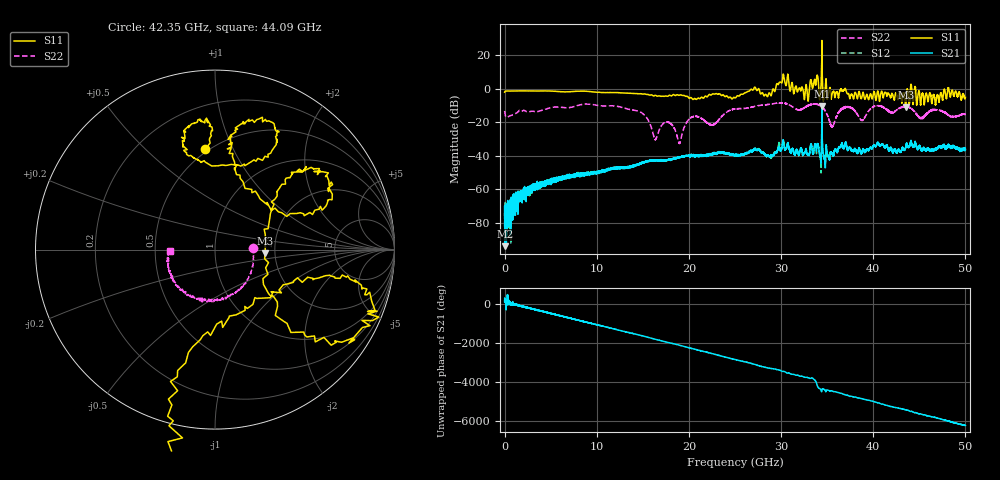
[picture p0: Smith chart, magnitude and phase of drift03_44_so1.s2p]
!Created with skrf (http://scikit-rf.org).
# Hz S RI R 50.0
!freq ReS11 ImS11 ReS21 ImS21 ReS12 ImS12 ReS22 ImS22
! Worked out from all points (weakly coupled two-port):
!   10000 points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, 5.3 MHz to 50 GHz, reference 50 ohm
!   highest |S21| = -10.42 dB at 34.43 GHz (marker M1); lowest = -94.1 dB at 20.3 MHz (marker M2)
!   lowest |S11| = -11.1 dB at 43.53 GHz (marker M3), VSWR 1.77, Z = 88.4 - j4.03 ohm
!   |S11| at or under -10 dB: 43.49044 GHz to 43.54328 GHz (52.85 MHz wide, 0.121 % of centre); 43.54851 GHz to 43.55104 GHz (2.535 MHz wide, 0.00582 % of centre)
!   |S22| runs from -32.7 to -8.4 dB; largest |S21 - S12| = 0.1
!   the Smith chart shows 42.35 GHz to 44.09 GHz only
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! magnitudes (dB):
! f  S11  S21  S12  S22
! 5.3 MHz  -2.1  -75.8  -74.6  -13.3
! 20.3 MHz  -1.9  -94.1  -75.0  -13.7
! 3.145 GHz  -1.4  -58.0  -58.1  -13.5
! 8.34 GHz  -1.5  -51.2  -51.1  -9.5
! 14.55 GHz  -3.1  -45.4  -45.2  -13.5
! 16.67 GHz  -4.4  -43.0  -43.0  -26.2
! 17.81 GHz  -4.2  -42.7  -42.3  -20.2
! 18.99 GHz  -3.9  -40.9  -41.2  -32.7
! 20.29 GHz  -5.6  -40.1  -40.0  -17.1
! 22.57 GHz  -3.1  -38.3  -39.2  -21.6
! 25.01 GHz  -5.5  -39.6  -39.8  -12.1
! 28.72 GHz  -2.5  -40.5  -40.4  -9.4
! 30.14 GHz  4.4  -33.5  -34.1  -8.5
! 32.74 GHz  2.0  -36.6  -36.5  -10.6
! 33.34 GHz  2.6  -35.0  -35.3  -9.4
! 34.43 GHz  28.8  -10.4  -12.4  -10.9
! 35.54 GHz  -3.1  -38.7  -39.0  -23.3
! 36.98 GHz  0.0  -32.8  -32.8  -11.0
! 38.78 GHz  -4.9  -38.3  -37.9  -19.0
! 41.67 GHz  -2.9  -36.7  -36.8  -13.3
! 43.53 GHz  -11.1  -35.1  -35.1  -10.6
! 50 GHz  -5.2  -36.4  -36.3  -15.4
